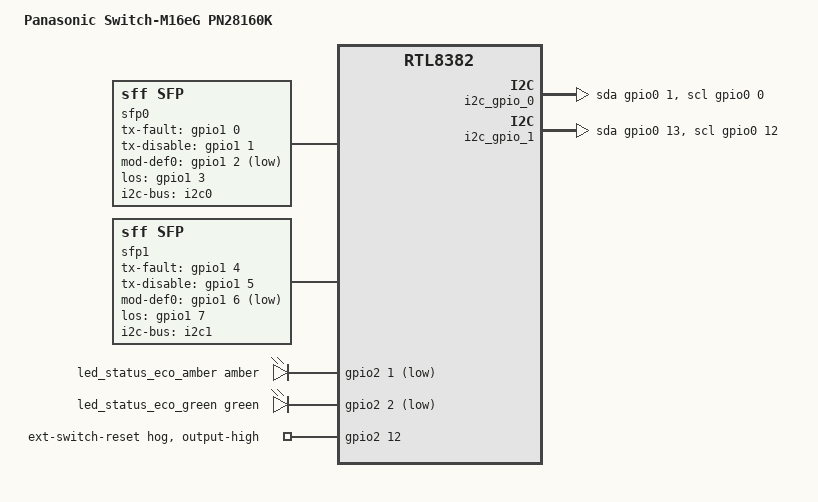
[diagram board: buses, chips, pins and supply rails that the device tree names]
// SPDX-License-Identifier: GPL-2.0-or-later OR MIT

#include "rtl838x.dtsi"
#include "rtl83xx_panasonic_mxxeg-pn28xx0k.dtsi"

#include <dt-bindings/interrupt-controller/irq.h>

/ {
	compatible = "panasonic,m16eg-pn28160k", "realtek,rtl8382-soc";
	model = "Panasonic Switch-M16eG PN28160K";

	aliases {
		led-boot = &led_status_eco_green;
		led-failsafe = &led_status_eco_amber;
		led-running = &led_status_eco_green;
		led-upgrade = &led_status_eco_green;
	};

	/*
	 * sfp0/1 are "combo" port with each TP port (23/24), and they are
	 * connected to the RTL8218FB. Currently, there is no support for
	 * the chip and only TP ports work by the RTL8218D support.
	 */
	sfp0: sfp-p23 {
		compatible = "sff,sfp";
		i2c-bus = <&i2c0>;
		tx-fault-gpio = <&gpio1 0 GPIO_ACTIVE_HIGH>;
		tx-disable-gpio = <&gpio1 1 GPIO_ACTIVE_HIGH>;
		mod-def0-gpio = <&gpio1 2 GPIO_ACTIVE_LOW>;
		los-gpio = <&gpio1 3 GPIO_ACTIVE_HIGH>;
	};

	sfp1: sfp-p24 {
		compatible = "sff,sfp";
		i2c-bus = <&i2c1>;
		tx-fault-gpio = <&gpio1 4 GPIO_ACTIVE_HIGH>;
		tx-disable-gpio = <&gpio1 5 GPIO_ACTIVE_HIGH>;
		mod-def0-gpio = <&gpio1 6 GPIO_ACTIVE_LOW>;
		los-gpio = <&gpio1 7 GPIO_ACTIVE_HIGH>;
	};
};

&leds {
	led_status_eco_amber: led-5 {
		gpios = <&gpio2 1 GPIO_ACTIVE_LOW>;
		color = <LED_COLOR_ID_AMBER>;
		function = LED_FUNCTION_STATUS;
		function-enumerator = <1>;
	};

	led_status_eco_green: led-6 {
		gpios = <&gpio2 2 GPIO_ACTIVE_LOW>;
		color = <LED_COLOR_ID_GREEN>;
		function = LED_FUNCTION_STATUS;
		function-enumerator = <2>;
	};
};

&i2c_gpio_0 {
	scl-gpios = <&gpio0 0 (GPIO_ACTIVE_HIGH | GPIO_OPEN_DRAIN)>;
	sda-gpios = <&gpio0 1 (GPIO_ACTIVE_HIGH | GPIO_OPEN_DRAIN)>;
};

&i2c_gpio_1 {
	scl-gpios = <&gpio0 12 (GPIO_ACTIVE_HIGH | GPIO_OPEN_DRAIN)>;
	sda-gpios = <&gpio0 13 (GPIO_ACTIVE_HIGH | GPIO_OPEN_DRAIN)>;
};

&gpio2 {
	interrupt-controller;
	#interrupt-cells = <2>;
	interrupt-parent = <&gpio0>;
	interrupts = <2 IRQ_TYPE_EDGE_FALLING>;

	/*
	 * GPIO12 (IO1_4): RTL8218FB
	 *
	 * This GPIO pin should be specified as "reset-gpio" in mdio node, but
	 * RTL8218FB phy won't be configured on RTL8218D support in the current
	 * phy driver. So, ethernet ports on the phy will be broken after hard-
	 * resetting.
	 * (RTL8218FB phy will be detected as RTL8218D by the phy driver)
	 * At the moment, configure this GPIO pin as gpio-hog to avoid breaking
	 * by resetting.
	 */
	ext_switch_reset {
		gpio-hog;
		gpios = <12 GPIO_ACTIVE_HIGH>;
		output-high;
		line-name = "ext-switch-reset";
	};
};

&i2c_switch {
	i2c0: i2c@0 {
		#address-cells = <1>;
		#size-cells = <0>;
		reg = <0>;
	};

	i2c1: i2c@1 {
		#address-cells = <1>;
		#size-cells = <0>;
		reg = <1>;
	};
};

&mdio_bus0 {
	PHY_C22(8, 8)
	PHY_C22(9, 9)
	PHY_C22(10, 10)
	PHY_C22(11, 11)
	PHY_C22(12, 12)
	PHY_C22(13, 13)
	PHY_C22(14, 14)
	PHY_C22(15, 15)

	/* RTL8218FB */
	PHY_C22(16, 16)
	PHY_C22(17, 17)
	PHY_C22(18, 18)
	PHY_C22(19, 19)
	PHY_C22(20, 20)
	PHY_C22(21, 21)
	PHY_C22(22, 22)
	PHY_C22(23, 23)
};

&switch0 {
	ethernet-ports {
		#address-cells = <1>;
		#size-cells = <0>;

		SWITCH_PORT(8, 1, internal)
		SWITCH_PORT(9, 2, internal)
		SWITCH_PORT(10, 3, internal)
		SWITCH_PORT(11, 4, internal)
		SWITCH_PORT(12, 5, internal)
		SWITCH_PORT(13, 6, internal)
		SWITCH_PORT(14, 7, internal)
		SWITCH_PORT(15, 8, internal)

		SWITCH_PORT_SDS(16, 9, 2, 0, qsgmii)
		SWITCH_PORT_SDS(17, 10, 2, 1, qsgmii)
		SWITCH_PORT_SDS(18, 11, 2, 2, qsgmii)
		SWITCH_PORT_SDS(19, 12, 2, 3, qsgmii)
		SWITCH_PORT_SDS(20, 13, 3, 0, qsgmii)
		SWITCH_PORT_SDS(21, 14, 3, 1, qsgmii)
		SWITCH_PORT_SDS(22, 15, 3, 2, qsgmii)
		SWITCH_PORT_SDS(23, 16, 3, 3, qsgmii)

		port@28 {
			ethernet = <&ethernet0>;
			reg = <28>;
			phy-mode = "internal";

			fixed-link {
				speed = <1000>;
				full-duplex;
			};
		};
	};
};
